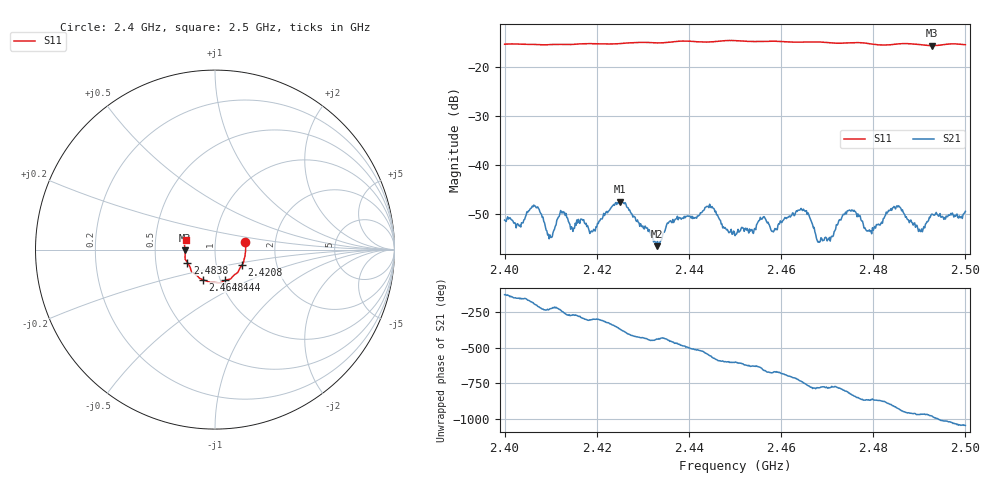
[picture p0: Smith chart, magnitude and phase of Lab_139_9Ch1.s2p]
# Hz S RI R 50
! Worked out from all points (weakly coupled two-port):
!   601 points, 2.4 GHz to 2.5 GHz, reference 50 ohm
!   highest |S21| = -47.40 dB at 2.425 GHz (marker M1); lowest = -56.5 dB at 2.433 GHz (marker M2)
!   lowest |S11| = -15.6 dB at 2.4928 GHz (marker M3), VSWR 1.40, Z = 35.7 - j0.315 ohm
!   |S11| at or under -10 dB: start of sweep to end of sweep
!   S12 and S22 are empty: the file has one direction only
!   S11 on the Smith chart (normalised r, x): 2.4 GHz: 1.39, +0.12; 2.4208 GHz: 1.33, -0.24; 2.444 GHz: 1.05, -0.37; 2.4648 GHz: 0.83, -0.29; 2.4838 GHz: 0.73, -0.11; 2.5 GHz: 0.72, +0.08
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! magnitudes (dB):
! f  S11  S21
! 2.4 GHz  -15.3  -51.2
! 2.4068 GHz  -15.4  -48.6
! 2.4098 GHz  -15.4  -54.2
! 2.4125 GHz  -15.3  -49.7
! 2.4167 GHz  -15.2  -51.0
! 2.4208 GHz  -15.2  -50.9
! 2.425 GHz  -15.2  -47.4
! 2.433 GHz  -15.0  -56.5
! 2.4333 GHz  -15.0  -56.1
! 2.4357 GHz  -14.9  -51.6
! 2.444 GHz  -14.9  -48.4
! 2.45 GHz  -14.6  -54.4
! 2.4648 GHz  -14.9  -48.9
! 2.4667 GHz  -14.8  -51.7
! 2.4685 GHz  -14.9  -55.5
! 2.4748 GHz  -15.0  -49.1
! 2.4792 GHz  -15.2  -53.2
! 2.4833 GHz  -15.4  -49.2
! 2.4838 GHz  -15.4  -48.9
! 2.4902 GHz  -15.4  -53.4
! 2.4928 GHz  -15.6  -50.0
! 2.5 GHz  -15.4  -49.4
